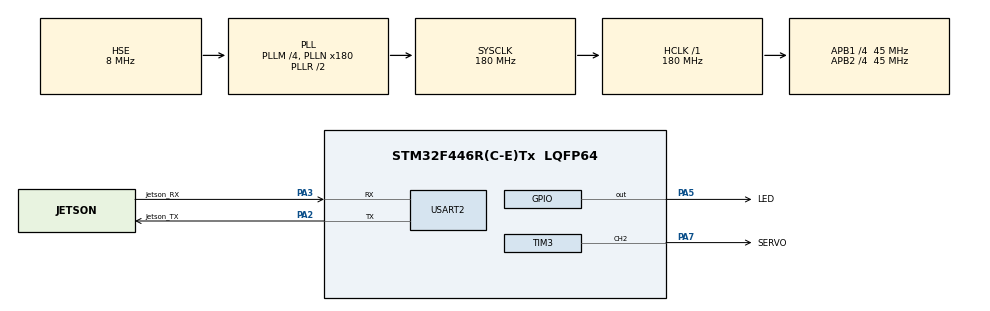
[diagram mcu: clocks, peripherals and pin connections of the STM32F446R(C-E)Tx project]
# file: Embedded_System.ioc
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Dma.Request0=USART2_RX
Dma.USART2_RX.0.Direction=DMA_PERIPH_TO_MEMORY
Dma.USART2_RX.0.FIFOMode=DMA_FIFOMODE_DISABLE
Dma.USART2_RX.0.Instance=DMA1_Stream5
Dma.USART2_RX.0.MemDataAlignment=DMA_MDATAALIGN_BYTE
Dma.USART2_RX.0.MemInc=DMA_MINC_ENABLE
Dma.USART2_RX.0.Mode=DMA_CIRCULAR
Dma.USART2_RX.0.PeriphDataAlignment=DMA_PDATAALIGN_BYTE
Dma.USART2_RX.0.PeriphInc=DMA_PINC_DISABLE
Dma.USART2_RX.0.Priority=DMA_PRIORITY_HIGH
Mcu.Family=STM32F4
Mcu.Name=STM32F446R(C-E)Tx
Mcu.Package=LQFP64
NVIC.DMA1_Stream5_IRQn=true\:0\:0\:false\:false\:true\:false\:true\:true
NVIC.PriorityGroup=NVIC_PRIORITYGROUP_4
NVIC.TIM1_UP_TIM10_IRQn=true\:0\:0\:false\:false\:true\:true\:true\:true
NVIC.USART2_IRQn=true\:0\:0\:false\:false\:true\:true\:true\:true
PA2.GPIO_Label=Jetson_TX
PA2.Mode=Asynchronous
PA2.Signal=USART2_TX
PA3.GPIO_Label=Jetson_RX
PA3.GPIO_PuPd=GPIO_PULLUP
PA3.Mode=Asynchronous
PA3.Signal=USART2_RX
PA5.GPIO_Label=LED
PA5.PinState=GPIO_PIN_RESET
PA5.Signal=GPIO_Output
PA7.GPIO_Label=SERVO
PA7.GPIO_PuPd=GPIO_PULLUP
PA7.GPIO_Speed=GPIO_SPEED_FREQ_HIGH
PA7.Signal=S_TIM3_CH2
PH0-OSC_IN.Mode=HSE-External-Oscillator
PH0-OSC_IN.Signal=RCC_OSC_IN
PH1-OSC_OUT.Mode=HSE-External-Oscillator
PH1-OSC_OUT.Signal=RCC_OSC_OUT
ProjectManager.HeapSize=0x200
ProjectManager.StackSize=0x400
ProjectManager.TargetToolchain=MDK-ARM V5.32
RCC.AHBFreq_Value=180000000
RCC.APB1CLKDivider=RCC_HCLK_DIV4
RCC.APB1Freq_Value=45000000
RCC.APB1TimFreq_Value=90000000
RCC.APB2CLKDivider=RCC_HCLK_DIV4
RCC.APB2Freq_Value=45000000
RCC.APB2TimFreq_Value=90000000
RCC.CortexFreq_Value=180000000
RCC.HCLKFreq_Value=180000000
RCC.HSE_VALUE=8000000
RCC.PLLM=4
RCC.PLLN=180
RCC.PLLSourceVirtual=RCC_PLLSOURCE_HSE
RCC.SYSCLKFreq_VALUE=180000000
RCC.SYSCLKSource=RCC_SYSCLKSOURCE_PLLRCLK
RCC.USBFreq_Value=180000000
RCC.VCOOutputFreq_Value=360000000
SH.S_TIM3_CH2.0=TIM3_CH2,PWM Generation2 CH2
TIM1.Period=1799
TIM1.Prescaler=999
TIM3.Channel-PWM\ Generation2\ CH2=TIM_CHANNEL_2
TIM3.Period=999
TIM3.Prescaler=899
USART2.VirtualMode=VM_ASYNC
VP_TIM1_VS_ClockSourceINT.Mode=Internal
VP_TIM3_VS_ClockSourceINT.Mode=Internal
board=custom

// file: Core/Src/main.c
/* USER CODE BEGIN Header */
/**
  ******************************************************************************
  * @file           : main.c
  * @brief          : Main program body
  ******************************************************************************
  * @attention
  *
  * Copyright (c) 2023 STMicroelectronics.
  * All rights reserved.
  *
  * This software is licensed under terms that can be found in the LICENSE file
  * in the root directory of this software component.
  * If no LICENSE file comes with this software, it is provided AS-IS.
  *
  ******************************************************************************
  */
/* USER CODE END Header */
#include "main.h"
#include "dma.h"
#include "tim.h"
#include "usart.h"
#include "gpio.h"

/* USER CODE BEGIN PV */
uint8_t rxdata[4] = {0, 0, 0, 0};
int16_t receive_speed;
int8_t receive_angle;
/* USER CODE END PV */

void SystemClock_Config(void);

int main(void)
{

  /* MCU Configuration--------------------------------------------------------*/

  /* Reset of all peripherals, Initializes the Flash interface and the Systick. */
  HAL_Init();

  /* Configure the system clock */
  SystemClock_Config();

  /* Initialize all configured peripherals */
  MX_GPIO_Init();
  MX_DMA_Init();
  MX_TIM1_Init();
  MX_TIM3_Init();
  MX_USART2_UART_Init();
  /* USER CODE BEGIN 2 */
	/************** TIMER **************/
	HAL_TIM_Base_Start_IT(&htim1);

	/************** COMMUNICATION **************/
	while (HAL_UARTEx_ReceiveToIdle_DMA(&huart2, rxdata, 4) != HAL_OK) HAL_UART_DMAStop(&huart2);
  __HAL_DMA_DISABLE_IT(&hdma_usart2_rx, DMA_IT_HT);

  /* USER CODE END 2 */

  /* Infinite loop */
  while (1)
  {

    /* USER CODE BEGIN 3 */
		HAL_Delay(10);

  }
  /* USER CODE END 3 */
}

void SystemClock_Config(void)
{
  RCC_OscInitTypeDef RCC_OscInitStruct = {0};
  RCC_ClkInitTypeDef RCC_ClkInitStruct = {0};

  /** Configure the main internal regulator output voltage
  */
  __HAL_RCC_PWR_CLK_ENABLE();
  __HAL_PWR_VOLTAGESCALING_CONFIG(PWR_REGULATOR_VOLTAGE_SCALE1);

  /** Initializes the RCC Oscillators according to the specified parameters
  * in the RCC_OscInitTypeDef structure.
  */
  RCC_OscInitStruct.OscillatorType = RCC_OSCILLATORTYPE_HSE;
  RCC_OscInitStruct.HSEState = RCC_HSE_ON;
  RCC_OscInitStruct.PLL.PLLState = RCC_PLL_ON;
  RCC_OscInitStruct.PLL.PLLSource = RCC_PLLSOURCE_HSE;
  RCC_OscInitStruct.PLL.PLLM = 4;
  RCC_OscInitStruct.PLL.PLLN = 180;
  RCC_OscInitStruct.PLL.PLLP = RCC_PLLP_DIV2;
  RCC_OscInitStruct.PLL.PLLQ = 2;
  RCC_OscInitStruct.PLL.PLLR = 2;
  if (HAL_RCC_OscConfig(&RCC_OscInitStruct) != HAL_OK)
  {
    Error_Handler();
  }

  /** Activate the Over-Drive mode
  */
  if (HAL_PWREx_EnableOverDrive() != HAL_OK)
  {
    Error_Handler();
  }

  /** Initializes the CPU, AHB and APB buses clocks
  */
  RCC_ClkInitStruct.ClockType = RCC_CLOCKTYPE_HCLK|RCC_CLOCKTYPE_SYSCLK
                              |RCC_CLOCKTYPE_PCLK1|RCC_CLOCKTYPE_PCLK2;
  RCC_ClkInitStruct.SYSCLKSource = RCC_SYSCLKSOURCE_PLLRCLK;
  RCC_ClkInitStruct.AHBCLKDivider = RCC_SYSCLK_DIV1;
  RCC_ClkInitStruct.APB1CLKDivider = RCC_HCLK_DIV4;
  RCC_ClkInitStruct.APB2CLKDivider = RCC_HCLK_DIV4;

  if (HAL_RCC_ClockConfig(&RCC_ClkInitStruct, FLASH_LATENCY_5) != HAL_OK)
  {
    Error_Handler();
  }
}

/* USER CODE BEGIN 4 */
/*********************************************************/
void HAL_TIM_PeriodElapsedCallback(TIM_HandleTypeDef *htim) {
  if (htim->Instance == TIM1) {
		HAL_GPIO_TogglePin(LED_GPIO_Port, LED_Pin);
	}
}

/*********************************************************/
void HAL_UARTEx_RxEventCallback(UART_HandleTypeDef *huart, uint16_t Size) {
  if (huart->Instance == USART2) {
	  while (HAL_UARTEx_ReceiveToIdle_DMA(&huart2, rxdata, 4) != HAL_OK) HAL_UART_DMAStop(&huart2);
    __HAL_DMA_DISABLE_IT(&hdma_usart2_rx, DMA_IT_HT);
		if (Size == 4) {
			if (rxdata[3] == 25) {
				receive_speed = ((int16_t)rxdata[1]<<8)|rxdata[0];
				receive_angle = rxdata[2];
			}
			else {
				receive_speed = 0;
				receive_angle = 0;
			}

			/**** CHECK DATA ****/
//			if (receive_speed == 100 && receive_angle == 0) HAL_GPIO_WritePin(LED_GPIO_Port, LED_Pin, GPIO_PIN_SET);
//			else HAL_GPIO_WritePin(LED_GPIO_Port, LED_Pin, GPIO_PIN_RESET);
		}
  }
}

/*********************************************************/
void HAL_UART_ErrorCallback(UART_HandleTypeDef *huart) {
  if (huart->Instance == USART2) {
		while (HAL_UARTEx_ReceiveToIdle_DMA(&huart2, rxdata, 4) != HAL_OK) HAL_UART_DMAStop(&huart2);
    __HAL_DMA_DISABLE_IT(&hdma_usart2_rx, DMA_IT_HT);
	}
}

/* USER CODE END 4 */

void Error_Handler(void)
{
  __disable_irq();
  while (1)
  {
  }
}
